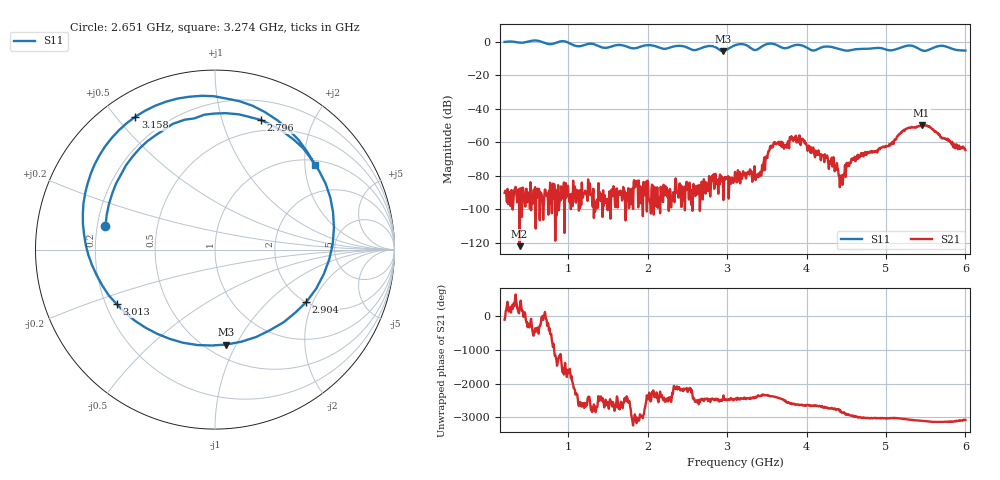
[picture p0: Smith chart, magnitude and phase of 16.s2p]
! NanoVNA-App
! Date: 2024-06-25 16:11:14
! Start: 200MHz Stop: 6GHz Points: 801
! S-Parameter data: F S11 S21 S12 S22
# Hz S RI R 50
!  Frequency  S11_Real  S11_Imag  S21_Real  S21_Imag  S12_Real  S12_Imag  S22_Real  S22_Imag
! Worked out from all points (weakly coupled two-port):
!   801 points, 200 MHz to 6 GHz, reference 50 ohm
!   highest |S21| = -49.65 dB at 5.449 GHz (marker M1); lowest = -122.0 dB at 388.5 MHz (marker M2)
!   lowest |S11| = -5.5 dB at 2.948 GHz (marker M3), VSWR 3.28, Z = 30.9 - j45.7 ohm
!   |S11| at or under -10 dB: nowhere
!   S12 and S22 are empty: the file has one direction only
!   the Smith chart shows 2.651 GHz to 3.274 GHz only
!   S11 on the Smith chart (normalised r, x): 2.651 GHz: 0.23, +0.10; 2.796 GHz: 0.38, +1.35; 2.904 GHz: 2.00, -1.79; 3.013 GHz: 0.24, -0.24; 3.158 GHz: 0.10, +0.56; 3.274 GHz: 1.13, +2.26
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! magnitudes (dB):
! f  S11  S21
! 200 MHz  0.0  -90.1
! 388.5 MHz  -0.4  -122.0
! 1.171 GHz  -2.3  -84.0
! 2.136 GHz  -3.1  -92.8
! 2.651 GHz  -4.1  -85.5
! 2.796 GHz  -2.3  -87.6
! 2.904 GHz  -4.6  -85.4
! 2.948 GHz  -5.5  -84.6
! 3.013 GHz  -4.1  -80.2
! 3.1 GHz  -1.9  -77.6
! 3.158 GHz  -1.3  -77.6
! 3.274 GHz  -2.7  -78.3
! 3.405 GHz  -3.8  -78.5
! 3.615 GHz  -1.6  -60.8
! 3.934 GHz  -1.9  -58.4
! 4.072 GHz  -5.0  -63.5
! 4.318 GHz  -3.0  -69.1
! 4.434 GHz  -4.5  -83.4
! 4.593 GHz  -4.5  -70.4
! 5.036 GHz  -4.9  -62.2
! 5.449 GHz  -4.9  -49.6
! 6 GHz  -5.1  -64.6
